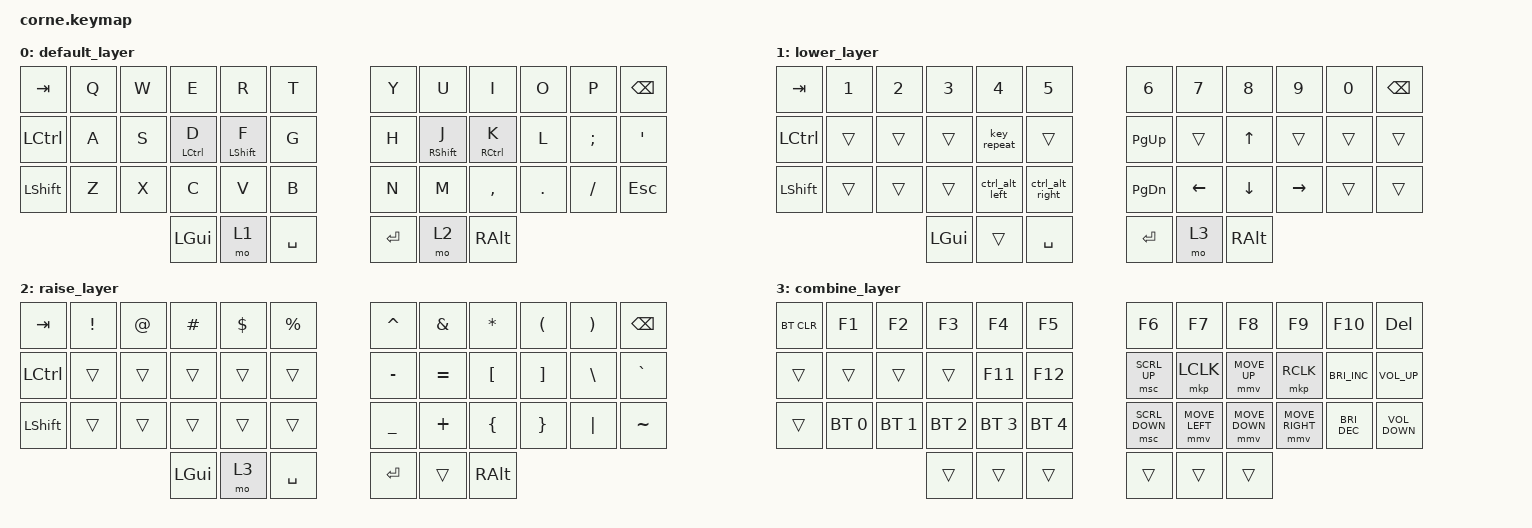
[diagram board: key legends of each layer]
/*
 * Copyright (c) 2020 The ZMK Contributors
 *
 * SPDX-License-Identifier: MIT
 */

#include <behaviors.dtsi>
#include <dt-bindings/zmk/bt.h>
#include <dt-bindings/zmk/keys.h>
#include <dt-bindings/zmk/pointing.h>

&mt {
    flavor = "tap-preferred";
    tapping-term-ms = <250>;
    hold-trigger-on-release;
};

&msc {
    trigger-period-ms = <10>;
    delay-ms = <10>;
};

/ {
    macros {
        ctrl_alt_right: ctrl_alt_right {
            compatible = "zmk,behavior-macro";
            #binding-cells = <0>;
            bindings = <&kp LCTRL &kp LEFT_ALT &kp RIGHT>;
            label = "CTRL_ALT_RIGHT";
        };

        ctrl_alt_left: ctrl_alt_left {
            compatible = "zmk,behavior-macro";
            #binding-cells = <0>;
            bindings = <&kp LCTRL &kp LEFT_ALT &kp LEFT>;
            label = "CTRL_ALT_LEFT";
        };
    };

    keymap {
        compatible = "zmk,keymap";

        default_layer {
            // -----------------------------------------------------------------------------------------
            // |  TAB |  Q  |  W  |  E  |  R  |  T  |   |  Y  |  U   |  I  |  O  |  P  | BSPC |
            // | CTRL |  A  |  S  |  D  |  F  |  G  |   |  H  |  J   |  K  |  L  |  ;  |  '   |
            // | SHFT |  Z  |  X  |  C  |  V  |  B  |   |  N  |  M   |  ,  |  .  |  /  | ESC  |
            //                    | GUI | LWR | SPC |   | ENT | RSE  | ALT |

            bindings = <
&kp TAB    &kp Q  &kp W  &kp E        &kp R             &kp T        &kp Y    &kp U              &kp I        &kp O    &kp P     &kp BSPC
&kp LCTRL  &kp A  &kp S  &mt LCTRL D  &mt LEFT_SHIFT F  &kp G        &kp H    &mt RIGHT_SHIFT J  &mt RCTRL K  &kp L    &kp SEMI  &kp SQT
&kp LSHFT  &kp Z  &kp X  &kp C        &kp V             &kp B        &kp N    &kp M              &kp COMMA    &kp DOT  &kp FSLH  &kp ESC
                         &kp LGUI     &mo 1             &kp SPACE    &kp RET  &mo 2              &kp RALT
            >;
        };

        lower_layer {
            // -----------------------------------------------------------------------------------------
            // |  TAB |  1  |  2  |  3  |  4  |  5  |   |  6  |  7  |  8  |  9  |  0  | BSPC |
            // | BTCLR| BT1 | BT2 | BT3 | BT4 | BT5 |   | LFT | DWN |  UP | RGT |     |      |
            // | SHFT |     |     |     |     |     |   |     |     |     |     |     |      |
            //                    | GUI |     | SPC |   | ENT |     | ALT |

            bindings = <
&kp TAB    &kp N1  &kp N2  &kp N3    &kp N4          &kp N5             &kp N6         &kp N7    &kp N8    &kp N9     &kp N0  &kp BSPC
&kp LCTRL  &trans  &trans  &trans    &key_repeat     &trans             &kp PAGE_UP    &trans    &kp UP    &trans     &trans  &trans
&kp LSHFT  &trans  &trans  &trans    &ctrl_alt_left  &ctrl_alt_right    &kp PAGE_DOWN  &kp LEFT  &kp DOWN  &kp RIGHT  &trans  &trans
                           &kp LGUI  &trans          &kp SPACE          &kp RET        &mo 3     &kp RALT
            >;
        };

        raise_layer {
            // -----------------------------------------------------------------------------------------
            // |  TAB |  !  |  @  |  #  |  $  |  %  |   |  ^  |  &  |  *  |  (  |  )  | BSPC |
            // | CTRL |     |     |     |     |     |   |  -  |  =  |  [  |  ]  |  \  |  `   |
            // | SHFT |     |     |     |     |     |   |  _  |  +  |  {  |  }  | "|" |  ~   |
            //                    | GUI |     | SPC |   | ENT |     | ALT |

            bindings = <
&kp TAB    &kp EXCL  &kp AT  &kp HASH  &kp DLLR  &kp PRCNT    &kp CARET  &kp AMPS   &kp ASTRK  &kp LPAR  &kp RPAR  &kp BSPC
&kp LCTRL  &trans    &trans  &trans    &trans    &trans       &kp MINUS  &kp EQUAL  &kp LBKT   &kp RBKT  &kp BSLH  &kp GRAVE
&kp LSHFT  &trans    &trans  &trans    &trans    &trans       &kp UNDER  &kp PLUS   &kp LBRC   &kp RBRC  &kp PIPE  &kp TILDE
                             &kp LGUI  &mo 3     &kp SPACE    &kp RET    &trans     &kp RALT
            >;
        };

        combine_layer {
            bindings = <
&bt BT_CLR  &kp F1        &kp F2        &kp F3        &kp F4        &kp F5          &kp F6          &kp F7          &kp F8          &kp F9           &kp F10               &kp DELETE
&trans      &trans        &trans        &trans        &kp F11       &kp F12         &msc SCRL_UP    &mkp LCLK       &mmv MOVE_UP    &mkp RCLK        &kp C_BRIGHTNESS_INC  &kp C_VOLUME_UP
&trans      &bt BT_SEL 0  &bt BT_SEL 1  &bt BT_SEL 2  &bt BT_SEL 3  &bt BT_SEL 4    &msc SCRL_DOWN  &mmv MOVE_LEFT  &mmv MOVE_DOWN  &mmv MOVE_RIGHT  &kp C_BRIGHTNESS_DEC  &kp C_VOLUME_DOWN
                                        &trans        &trans        &trans          &trans          &trans          &trans
            >;
        };
    };
};
